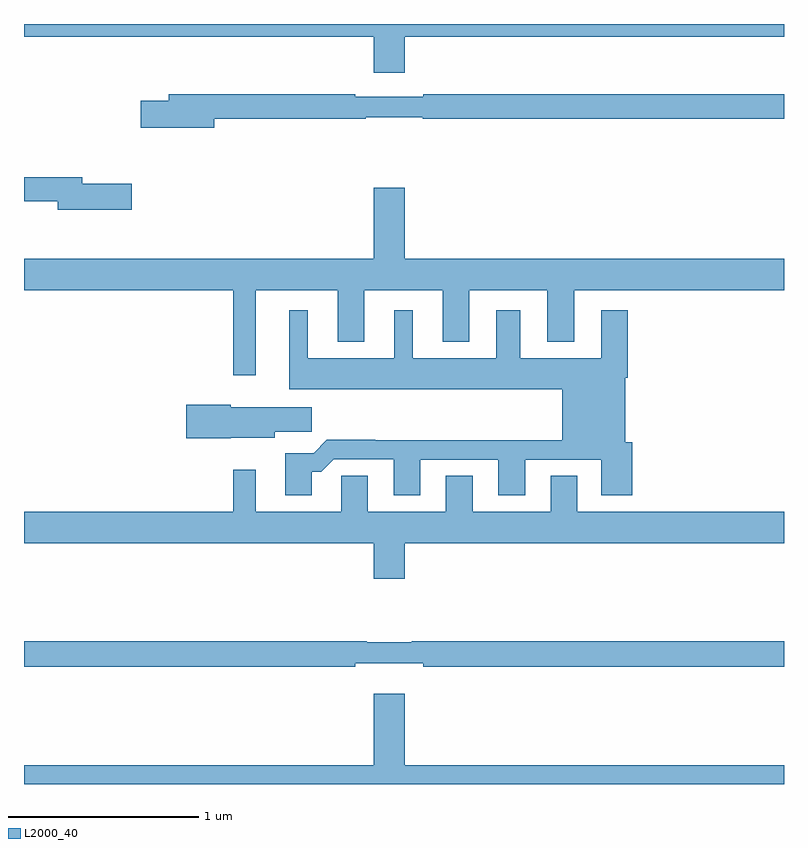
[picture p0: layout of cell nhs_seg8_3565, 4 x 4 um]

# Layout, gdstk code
import gdstk
lib = gdstk.Library(unit=1e-6, precision=1e-09)
def P(c, l, *ps):  # polygons
    for p in ps: c.add(gdstk.Polygon(p, *l))
L2000_40 = (2000, 40)

nhs_seg8_3565 = lib.new_cell('nhs_seg8_3565')
P(nhs_seg8_3565, L2000_40, [(333.004,1117.832),(335,1117.832),(335,1117.9),(331,1117.9),(331,1117.832),(332.84,1117.832),(332.84,1117.644),(333.004,1117.644)],
  [(332.002,1117.402),(332.798,1117.402),(332.798,1117.41),(333.098,1117.41),(333.098,1117.402),(335,1117.402),(335,1117.531),(333.1,1117.531),(333.1,1117.518),(332.744,1117.518),(332.744,1117.531),(331.763,1117.531),(331.763,1117.497),(331.614,1117.497),(331.614,1117.355),(332.002,1117.355)],
  [(331.567,1117.058),(331.306,1117.058),(331.306,1117.094),(331,1117.094),(331,1116.966),(331.178,1116.966),(331.178,1116.923),(331.567,1116.923)],
  [(332.221,1116.5),(332.651,1116.5),(332.651,1116.227),(332.791,1116.227),(332.791,1116.5),(333.203,1116.5),(333.203,1116.227),(333.343,1116.227),(333.343,1116.5),(333.755,1116.5),(333.755,1116.227),(333.895,1116.227),(333.895,1116.5),(335,1116.5),(335,1116.664),(333.004,1116.664),(333.004,1117.039),(332.84,1117.039),(332.84,1116.664),(331,1116.664),(331,1116.5),(332.1,1116.5),(332.1,1116.051),(332.221,1116.051)],
  [(332.515,1115.543),(332.564,1115.543),(332.631,1115.61),(332.945,1115.61),(332.945,1115.421),(333.085,1115.421),(333.085,1115.607),(333.497,1115.607),(333.497,1115.421),(333.637,1115.421),(333.637,1115.607),(334.037,1115.607),(334.037,1115.421),(334.202,1115.421),(334.202,1115.7),(334.165,1115.7),(334.165,1116.038),(334.178,1116.038),(334.178,1116.394),(334.037,1116.394),(334.037,1116.142),(333.613,1116.142),(333.613,1116.394),(333.485,1116.394),(333.485,1116.142),(333.046,1116.142),(333.046,1116.394),(332.948,1116.394),(332.948,1116.142),(332.494,1116.142),(332.494,1116.394),(332.396,1116.394),(332.396,1115.978),(333.833,1115.978),(333.833,1115.708),(332.849,1115.708),(332.849,1115.711),(332.594,1115.711),(332.524,1115.641),(332.375,1115.641),(332.375,1115.421),(332.515,1115.421)],
  [(332.088,1115.723),(332.32,1115.723),(332.32,1115.755),(332.515,1115.755),(332.515,1115.884),(332.088,1115.884),(332.088,1115.897),(331.854,1115.897),(331.854,1115.719),(332.088,1115.719)],
  [(333.004,1115.168),(335,1115.168),(335,1115.332),(333.913,1115.332),(333.913,1115.522),(333.773,1115.522),(333.773,1115.332),(333.361,1115.332),(333.361,1115.522),(333.221,1115.522),(333.221,1115.332),(332.809,1115.332),(332.809,1115.522),(332.67,1115.522),(332.67,1115.332),(332.221,1115.332),(332.221,1115.554),(332.1,1115.554),(332.1,1115.332),(331,1115.332),(331,1115.168),(332.84,1115.168),(332.84,1114.98),(333.004,1114.98)],
  [(332.744,1114.535),(333.1,1114.535),(333.1,1114.516),(335,1114.516),(335,1114.652),(333.041,1114.652),(333.041,1114.645),(332.803,1114.645),(332.803,1114.652),(331,1114.652),(331,1114.516),(332.744,1114.516)],
  [(335,1114),(333.004,1114),(333.004,1114.375),(332.84,1114.375),(332.84,1114),(331,1114),(331,1113.9),(335,1113.9)])

lib.write_gds('nhs_seg8_3565.gds')
